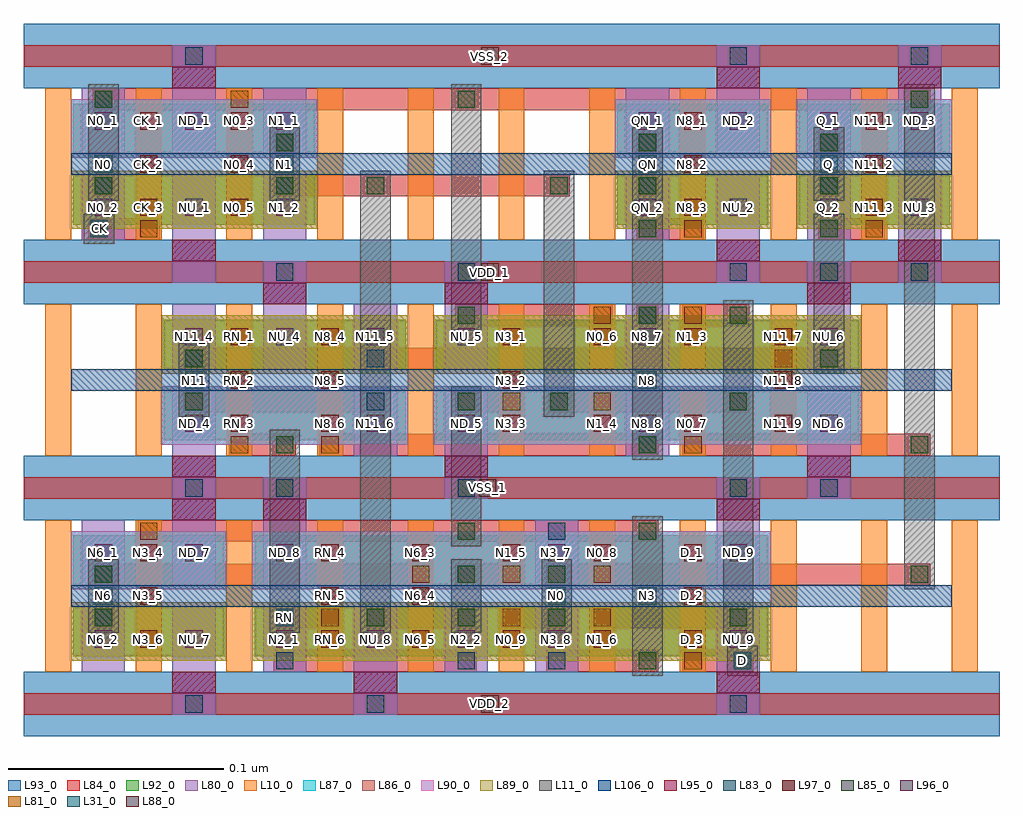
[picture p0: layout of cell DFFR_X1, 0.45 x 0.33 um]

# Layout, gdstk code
import gdstk
lib = gdstk.Library(unit=1e-6, precision=1e-09)
def R(c, l, rs):  # rectangles x0, y0, x1, y1
    for r in rs: c.add(gdstk.rectangle(r[:2], r[2:], *l))
def A(c, l, x, y, w, h, nx, ny, dx, dy):  # array of equal rectangles
    R(c, l, [(x+i*dx, y+j*dy, x+i*dx+w, y+j*dy+h) for i in range(nx) for j in range(ny)])
L10_0 = (10, 0)
L11_0 = (11, 0)
L31_0 = (31, 0)
L80_0 = (80, 0)
L81_0 = (81, 0)
L83_0 = (83, 0)
L84_0 = (84, 0)
L85_0 = (85, 0)
L86_0 = (86, 0)
L87_0 = (87, 0)
L88_0 = (88, 0)
L89_0 = (89, 0)
L90_0 = (90, 0)
L92_0 = (92, 0)
L93_0 = (93, 0)
L95_0 = (95, 0)
L96_0 = (96, 0)
L97_0 = (97, 0)
L106_0 = (106, 0)

dffr_x1 = lib.new_cell('DFFR_X1')
A(dffr_x1, L10_0, -0.006, 0.015, 0.012, 0.07, 5, 1, 0.042, 0)
A(dffr_x1, L10_0, 0.288, 0.015, 0.012, 0.07, 4, 1, 0.042, 0)
A(dffr_x1, L10_0, -0.006, 0.115, 0.012, 0.07, 6, 1, 0.042, 0)
A(dffr_x1, L10_0, 0.33, 0.115, 0.012, 0.07, 3, 1, 0.042, 0)
A(dffr_x1, L10_0, -0.006, 0.215, 0.012, 0.07, 11, 1, 0.042, 0)
R(dffr_x1, L10_0, [(0.204,0.015,0.216,0.045), (0.246,0.015,0.258,0.045), (0.204,0.055,0.216,0.085), (0.246,0.055,0.258,0.085), (0.246,0.115,0.258,0.145), (0.288,0.115,0.3,0.145), (0.33,0.115,0.342,0.185), (0.246,0.155,0.258,0.185), (0.288,0.155,0.3,0.185), (0.288,0.155,0.3,0.185)])
R(dffr_x1, L11_0, [(0.266,0.013,0.28,0.087), (0.31,0.013,0.324,0.027), (0.014,0.033,0.028,0.067), (0.098,0.033,0.112,0.127), (0.14,0.033,0.154,0.247), (0.182,0.033,0.196,0.067), (0.224,0.033,0.238,0.067), (0.308,0.033,0.322,0.187), (0.392,0.053,0.406,0.287), (0.182,0.073,0.196,0.147), (0.266,0.113,0.28,0.227), (0.056,0.133,0.07,0.167), (0.225,0.133,0.239,0.247), (0.266,0.133,0.28,0.167), (0.35,0.153,0.364,0.227), (0.182,0.173,0.196,0.287), (0.012,0.213,0.026,0.227), (0.014,0.233,0.028,0.287), (0.098,0.233,0.112,0.267), (0.266,0.233,0.28,0.267), (0.35,0.233,0.364,0.267)])
A(dffr_x1, L31_0, 0.269, 0.046, 0.008, 0.008, 1, 3, 0, 0.1)
R(dffr_x1, L31_0, [(0.313,0.016,0.321,0.024), (0.101,0.036,0.109,0.044), (0.017,0.046,0.025,0.054), (0.227,0.046,0.235,0.054), (0.059,0.146,0.067,0.154), (0.015,0.216,0.023,0.224), (0.017,0.246,0.025,0.254), (0.101,0.246,0.109,0.254), (0.353,0.246,0.361,0.254)])
A(dffr_x1, L80_0, 0.011, 0.015, 0.02, 0.03, 6, 1, 0.042, 0)
A(dffr_x1, L80_0, 0.011, 0.055, 0.02, 0.03, 3, 2, 0.042, 0.16)
A(dffr_x1, L80_0, 0.053, 0.075, 0.02, 0.03, 1, 3, 0, 0.02)
A(dffr_x1, L80_0, 0.179, 0.115, 0.02, 0.03, 3, 1, 0.084, 0)
A(dffr_x1, L80_0, 0.053, 0.155, 0.02, 0.03, 4, 1, 0.042, 0)
A(dffr_x1, L80_0, 0.263, 0.215, 0.02, 0.03, 4, 2, 0.042, 0.04)
A(dffr_x1, L80_0, 0.011, 0.255, 0.02, 0.03, 3, 1, 0.042, 0)
R(dffr_x1, L80_0, [(0.053,-0.005,0.073,0.025), (0.137,-0.005,0.157,0.025), (0.305,-0.005,0.325,0.025), (0.305,0.015,0.325,0.045), (0.221,0.055,0.241,0.085), (0.305,0.055,0.325,0.085), (0.095,0.075,0.115,0.105), (0.305,0.075,0.325,0.105), (0.179,0.095,0.199,0.125), (0.347,0.095,0.367,0.125), (0.137,0.115,0.157,0.145), (0.263,0.155,0.283,0.185), (0.347,0.155,0.367,0.185), (0.095,0.175,0.115,0.205), (0.179,0.175,0.199,0.205), (0.347,0.175,0.367,0.205), (0.053,0.195,0.073,0.225), (0.305,0.195,0.325,0.225), (0.389,0.195,0.409,0.225), (0.053,0.275,0.073,0.305), (0.305,0.275,0.325,0.305), (0.389,0.275,0.409,0.305)])
A(dffr_x1, L81_0, 0.164, 0.056, 0.008, 0.008, 3, 1, 0.042, 0)
R(dffr_x1, L81_0, [(0.29,0.016,0.298,0.024), (0.122,0.036,0.13,0.044), (0.206,0.036,0.214,0.044), (0.248,0.036,0.256,0.044), (0.248,0.056,0.256,0.064), (0.038,0.076,0.046,0.084), (0.08,0.116,0.088,0.124), (0.122,0.116,0.13,0.124), (0.29,0.116,0.298,0.124), (0.206,0.136,0.214,0.144), (0.248,0.136,0.256,0.144), (0.332,0.156,0.34,0.164), (0.332,0.156,0.34,0.164), (0.248,0.176,0.256,0.184), (0.29,0.176,0.298,0.184), (0.038,0.216,0.046,0.224), (0.29,0.216,0.298,0.224), (0.29,0.216,0.298,0.224), (0.29,0.216,0.298,0.224), (0.29,0.216,0.298,0.224), (0.374,0.216,0.382,0.224), (0.374,0.216,0.382,0.224), (0.374,0.216,0.382,0.224), (0.374,0.216,0.382,0.224), (0.08,0.276,0.088,0.284)])
A(dffr_x1, L83_0, 0.311, -0.004, 0.008, 0.008, 1, 3, 0, 0.1)
A(dffr_x1, L83_0, 0.269, 0.116, 0.008, 0.008, 1, 3, 0, 0.06)
A(dffr_x1, L83_0, 0.311, 0.196, 0.008, 0.008, 3, 1, 0.042, 0)
R(dffr_x1, L83_0, [(0.059,-0.004,0.067,0.004), (0.059,-0.004,0.067,0.004), (0.059,-0.004,0.067,0.004), (0.059,-0.004,0.067,0.004), (0.143,-0.004,0.151,0.004), (0.101,0.016,0.109,0.024), (0.185,0.016,0.193,0.024), (0.227,0.016,0.235,0.024), (0.017,0.036,0.025,0.044), (0.017,0.056,0.025,0.064), (0.227,0.076,0.235,0.084), (0.059,0.096,0.067,0.104), (0.101,0.096,0.109,0.104), (0.101,0.096,0.109,0.104), (0.185,0.096,0.193,0.104), (0.353,0.096,0.361,0.104), (0.143,0.136,0.151,0.144), (0.059,0.156,0.067,0.164), (0.143,0.156,0.151,0.164), (0.101,0.196,0.109,0.204), (0.185,0.196,0.193,0.204), (0.311,0.196,0.319,0.204), (0.311,0.196,0.319,0.204), (0.395,0.196,0.403,0.204), (0.395,0.196,0.403,0.204), (0.395,0.196,0.403,0.204), (0.017,0.236,0.025,0.244), (0.101,0.236,0.109,0.244), (0.353,0.236,0.361,0.244), (0.101,0.256,0.109,0.264), (0.269,0.256,0.277,0.264), (0.353,0.256,0.361,0.264), (0.017,0.276,0.025,0.284), (0.059,0.296,0.067,0.304), (0.311,0.296,0.319,0.304), (0.395,0.296,0.403,0.304)])
A(dffr_x1, L84_0, -0.016, -0.005, 0.452, 0.01, 1, 4, 0, 0.1)
R(dffr_x1, L84_0, [(0.1,0.015,0.194,0.025), (0.226,0.015,0.278,0.025), (0.289,0.015,0.322,0.025), (0.016,0.035,0.026,0.045), (0.098,0.035,0.131,0.045), (0.142,0.035,0.194,0.045), (0.205,0.035,0.236,0.045), (0.247,0.035,0.32,0.045), (0.016,0.055,0.173,0.065), (0.184,0.055,0.215,0.065), (0.226,0.055,0.404,0.065), (0.037,0.075,0.278,0.085), (0.079,0.115,0.11,0.125), (0.121,0.115,0.278,0.125), (0.289,0.115,0.404,0.125), (0.058,0.135,0.152,0.145), (0.184,0.135,0.215,0.145), (0.227,0.135,0.32,0.145), (0.058,0.155,0.362,0.165), (0.184,0.175,0.257,0.185), (0.268,0.175,0.278,0.185), (0.289,0.175,0.32,0.185), (0.014,0.215,0.047,0.225), (0.268,0.215,0.299,0.225), (0.352,0.215,0.383,0.225), (0.016,0.235,0.026,0.245), (0.1,0.235,0.237,0.245), (0.268,0.235,0.278,0.245), (0.352,0.235,0.362,0.245), (0.1,0.255,0.11,0.265), (0.268,0.255,0.278,0.265), (0.352,0.255,0.362,0.265), (0.016,0.275,0.404,0.285)])
A(dffr_x1, L85_0, 0.101, 0.036, 0.008, 0.008, 4, 1, 0.042, 0)
A(dffr_x1, L85_0, 0.269, 0.216, 0.008, 0.008, 1, 3, 0, 0.02)
A(dffr_x1, L85_0, 0.353, 0.216, 0.008, 0.008, 1, 3, 0, 0.02)
R(dffr_x1, L85_0, [(0.269,0.016,0.277,0.024), (0.313,0.016,0.321,0.024), (0.017,0.036,0.025,0.044), (0.311,0.036,0.319,0.044), (0.017,0.056,0.025,0.064), (0.185,0.056,0.193,0.064), (0.227,0.056,0.235,0.064), (0.395,0.056,0.403,0.064), (0.185,0.076,0.193,0.084), (0.269,0.076,0.277,0.084), (0.101,0.116,0.109,0.124), (0.269,0.116,0.277,0.124), (0.269,0.116,0.277,0.124), (0.395,0.116,0.403,0.124), (0.059,0.136,0.067,0.144), (0.185,0.136,0.193,0.144), (0.228,0.136,0.236,0.144), (0.311,0.136,0.319,0.144), (0.059,0.156,0.067,0.164), (0.353,0.156,0.361,0.164), (0.185,0.176,0.193,0.184), (0.269,0.176,0.277,0.184), (0.269,0.176,0.277,0.184), (0.311,0.176,0.319,0.184), (0.015,0.216,0.023,0.224), (0.017,0.236,0.025,0.244), (0.101,0.236,0.109,0.244), (0.143,0.236,0.151,0.244), (0.228,0.236,0.236,0.244), (0.101,0.256,0.109,0.264), (0.017,0.276,0.025,0.284), (0.185,0.276,0.193,0.284), (0.395,0.276,0.403,0.284)])
R(dffr_x1, L86_0, [(0.006,0.02,0.078,0.047), (0.09,0.02,0.33,0.047), (0.048,0.153,0.162,0.18), (0.174,0.153,0.372,0.18), (0.006,0.22,0.12,0.247), (0.258,0.22,0.33,0.247), (0.342,0.22,0.414,0.247)])
R(dffr_x1, L87_0, [(0.006,0.053,0.078,0.08), (0.09,0.053,0.33,0.08), (0.048,0.12,0.162,0.147), (0.174,0.12,0.372,0.147), (0.006,0.253,0.12,0.28), (0.258,0.253,0.33,0.28), (0.342,0.253,0.414,0.28)])
R(dffr_x1, L88_0, [(0.196,-0.004,0.204,0.004), (0.195,0.096,0.203,0.104), (0.196,0.196,0.204,0.204), (0.196,0.296,0.204,0.304)])
R(dffr_x1, L89_0, [(0.006,0.02,0.078,0.047), (0.09,0.02,0.33,0.047), (0.048,0.153,0.162,0.18), (0.174,0.153,0.372,0.18), (0.006,0.22,0.12,0.247), (0.258,0.22,0.33,0.247), (0.342,0.22,0.414,0.247)])
R(dffr_x1, L90_0, [(0.006,0.053,0.078,0.08), (0.09,0.053,0.33,0.08), (0.048,0.12,0.162,0.147), (0.174,0.12,0.372,0.147), (0.006,0.253,0.12,0.28), (0.258,0.253,0.33,0.28), (0.342,0.253,0.414,0.28)])
R(dffr_x1, L92_0, [(0.007,0.022,0.077,0.045), (0.091,0.022,0.329,0.045), (0.007,0.055,0.077,0.078), (0.091,0.055,0.329,0.078), (0.049,0.122,0.161,0.145), (0.175,0.122,0.371,0.145), (0.049,0.155,0.161,0.178), (0.175,0.155,0.371,0.178), (0.007,0.222,0.119,0.245), (0.259,0.222,0.329,0.245), (0.343,0.222,0.413,0.245), (0.007,0.255,0.119,0.278), (0.259,0.255,0.329,0.278), (0.343,0.255,0.413,0.278)])
A(dffr_x1, L93_0, -0.016, -0.015, 0.452, 0.03, 1, 4, 0, 0.1)
R(dffr_x1, L95_0, [(0.053,0.005,0.073,0.015), (0.137,0.005,0.157,0.015), (0.305,0.005,0.325,0.015), (0.053,0.085,0.073,0.095), (0.095,0.085,0.115,0.095), (0.305,0.085,0.325,0.095), (0.053,0.105,0.073,0.115), (0.179,0.105,0.199,0.115), (0.347,0.105,0.367,0.115), (0.095,0.185,0.115,0.195), (0.179,0.185,0.199,0.195), (0.347,0.185,0.367,0.195), (0.053,0.205,0.073,0.215), (0.305,0.205,0.325,0.215), (0.389,0.205,0.409,0.215), (0.053,0.285,0.073,0.295), (0.305,0.285,0.325,0.295), (0.389,0.285,0.409,0.295)])
A(dffr_x1, L96_0, 0.017, 0.026, 0.008, 0.008, 6, 1, 0.042, 0)
A(dffr_x1, L96_0, 0.017, 0.066, 0.008, 0.008, 3, 2, 0.042, 0.16)
A(dffr_x1, L96_0, 0.185, 0.126, 0.008, 0.008, 3, 1, 0.084, 0)
A(dffr_x1, L96_0, 0.059, 0.166, 0.008, 0.008, 4, 1, 0.042, 0)
A(dffr_x1, L96_0, 0.269, 0.226, 0.008, 0.008, 4, 2, 0.042, 0.04)
A(dffr_x1, L96_0, 0.017, 0.266, 0.008, 0.008, 3, 1, 0.042, 0)
R(dffr_x1, L96_0, [(0.311,0.026,0.319,0.034), (0.227,0.066,0.235,0.074), (0.311,0.066,0.319,0.074), (0.059,0.126,0.067,0.134), (0.143,0.126,0.151,0.134), (0.269,0.166,0.277,0.174), (0.353,0.166,0.361,0.174)])
A(dffr_x1, L97_0, 0.038, 0.026, 0.008, 0.008, 1, 3, 0, 0.02)
A(dffr_x1, L97_0, 0.122, 0.026, 0.008, 0.008, 5, 2, 0.042, 0.04)
A(dffr_x1, L97_0, 0.08, 0.126, 0.008, 0.008, 1, 3, 0, 0.02)
A(dffr_x1, L97_0, 0.122, 0.126, 0.008, 0.008, 1, 3, 0, 0.02)
A(dffr_x1, L97_0, 0.206, 0.126, 0.008, 0.008, 4, 2, 0.042, 0.04)
A(dffr_x1, L97_0, 0.038, 0.226, 0.008, 0.008, 1, 3, 0, 0.02)
A(dffr_x1, L97_0, 0.08, 0.226, 0.008, 0.008, 1, 3, 0, 0.02)
A(dffr_x1, L97_0, 0.29, 0.226, 0.008, 0.008, 1, 3, 0, 0.02)
A(dffr_x1, L97_0, 0.374, 0.226, 0.008, 0.008, 1, 3, 0, 0.02)
R(dffr_x1, L97_0, [(0.122,0.046,0.13,0.054), (0.164,0.046,0.172,0.054), (0.29,0.046,0.298,0.054), (0.206,0.146,0.214,0.154), (0.332,0.146,0.34,0.154)])
A(dffr_x1, L106_0, 0.006, 0.045, 0.408, 0.01, 1, 3, 0, 0.1)
dffr_x1.add(gdstk.Label('N6_4', (0.168,0.05), layer=97, texttype=0))
dffr_x1.add(gdstk.Label('D_2', (0.294,0.05), layer=97, texttype=0))
dffr_x1.add(gdstk.Label('N0_4', (0.084,0.25), layer=97, texttype=0))
dffr_x1.add(gdstk.Label('CK_2', (0.042,0.25), layer=97, texttype=0))
dffr_x1.add(gdstk.Label('N11_2', (0.378,0.25), layer=97, texttype=0))
dffr_x1.add(gdstk.Label('N1_6', (0.252,0.03), layer=97, texttype=0))
dffr_x1.add(gdstk.Label('N0_8', (0.252,0.07), layer=97, texttype=0))
dffr_x1.add(gdstk.Label('N8_2', (0.294,0.25), layer=97, texttype=0))
dffr_x1.add(gdstk.Label('N3_2', (0.21,0.15), layer=97, texttype=0))
dffr_x1.add(gdstk.Label('N1_4', (0.252,0.13), layer=97, texttype=0))
dffr_x1.add(gdstk.Label('N0_6', (0.252,0.17), layer=97, texttype=0))
dffr_x1.add(gdstk.Label('N1_3', (0.294,0.17), layer=97, texttype=0))
dffr_x1.add(gdstk.Label('N0_7', (0.294,0.13), layer=97, texttype=0))
dffr_x1.add(gdstk.Label('N11_8', (0.336,0.15), layer=97, texttype=0))
dffr_x1.add(gdstk.Label('N3_5', (0.042,0.05), layer=97, texttype=0))
dffr_x1.add(gdstk.Label('N8_5', (0.126,0.15), layer=97, texttype=0))
dffr_x1.add(gdstk.Label('RN_2', (0.084,0.15), layer=97, texttype=0))
dffr_x1.add(gdstk.Label('N8_6', (0.126,0.13), layer=97, texttype=0))
dffr_x1.add(gdstk.Label('N8_4', (0.126,0.17), layer=97, texttype=0))
dffr_x1.add(gdstk.Label('N0_5', (0.084,0.23), layer=97, texttype=0))
dffr_x1.add(gdstk.Label('N0_3', (0.084,0.27), layer=97, texttype=0))
dffr_x1.add(gdstk.Label('CK_1', (0.042,0.27), layer=97, texttype=0))
dffr_x1.add(gdstk.Label('CK_3', (0.042,0.23), layer=97, texttype=0))
dffr_x1.add(gdstk.Label('N8_1', (0.294,0.27), layer=97, texttype=0))
dffr_x1.add(gdstk.Label('N8_3', (0.294,0.23), layer=97, texttype=0))
dffr_x1.add(gdstk.Label('N11_3', (0.378,0.23), layer=97, texttype=0))
dffr_x1.add(gdstk.Label('N11_1', (0.378,0.27), layer=97, texttype=0))
dffr_x1.add(gdstk.Label('RN_3', (0.084,0.13), layer=97, texttype=0))
dffr_x1.add(gdstk.Label('RN_1', (0.084,0.17), layer=97, texttype=0))
dffr_x1.add(gdstk.Label('N3_1', (0.21,0.17), layer=97, texttype=0))
dffr_x1.add(gdstk.Label('N3_3', (0.21,0.13), layer=97, texttype=0))
dffr_x1.add(gdstk.Label('N11_7', (0.336,0.17), layer=97, texttype=0))
dffr_x1.add(gdstk.Label('N11_9', (0.336,0.13), layer=97, texttype=0))
dffr_x1.add(gdstk.Label('N3_4', (0.042,0.07), layer=97, texttype=0))
dffr_x1.add(gdstk.Label('N3_6', (0.042,0.03), layer=97, texttype=0))
dffr_x1.add(gdstk.Label('RN_4', (0.126,0.07), layer=97, texttype=0))
dffr_x1.add(gdstk.Label('RN_6', (0.126,0.03), layer=97, texttype=0))
dffr_x1.add(gdstk.Label('N6_5', (0.168,0.03), layer=97, texttype=0))
dffr_x1.add(gdstk.Label('N6_3', (0.168,0.07), layer=97, texttype=0))
dffr_x1.add(gdstk.Label('D_3', (0.294,0.03), layer=97, texttype=0))
dffr_x1.add(gdstk.Label('D_1', (0.294,0.07), layer=97, texttype=0))
dffr_x1.add(gdstk.Label('N0_9', (0.21,0.03), layer=97, texttype=0))
dffr_x1.add(gdstk.Label('N1_5', (0.21,0.07), layer=97, texttype=0))
dffr_x1.add(gdstk.Label('RN_5', (0.126,0.05), layer=97, texttype=0))
dffr_x1.add(gdstk.Label('N1_1', (0.105,0.27), layer=96, texttype=0))
dffr_x1.add(gdstk.Label('NU_1', (0.063,0.23), layer=96, texttype=0))
dffr_x1.add(gdstk.Label('ND_1', (0.063,0.27), layer=96, texttype=0))
dffr_x1.add(gdstk.Label('N0_1', (0.021,0.27), layer=96, texttype=0))
dffr_x1.add(gdstk.Label('ND_8', (0.105,0.07), layer=96, texttype=0))
dffr_x1.add(gdstk.Label('NU_8', (0.147,0.03), layer=96, texttype=0))
dffr_x1.add(gdstk.Label('N2_1', (0.105,0.03), layer=96, texttype=0))
dffr_x1.add(gdstk.Label('N3_7', (0.231,0.07), layer=96, texttype=0))
dffr_x1.add(gdstk.Label('ND_9', (0.315,0.07), layer=96, texttype=0))
dffr_x1.add(gdstk.Label('NU_9', (0.315,0.03), layer=96, texttype=0))
dffr_x1.add(gdstk.Label('N0_2', (0.021,0.23), layer=96, texttype=0))
dffr_x1.add(gdstk.Label('N1_2', (0.105,0.23), layer=96, texttype=0))
dffr_x1.add(gdstk.Label('QN_1', (0.273,0.27), layer=96, texttype=0))
dffr_x1.add(gdstk.Label('N3_8', (0.231,0.03), layer=96, texttype=0))
dffr_x1.add(gdstk.Label('NU_2', (0.315,0.23), layer=96, texttype=0))
dffr_x1.add(gdstk.Label('N2_2', (0.189,0.03), layer=96, texttype=0))
dffr_x1.add(gdstk.Label('ND_2', (0.315,0.27), layer=96, texttype=0))
dffr_x1.add(gdstk.Label('NU_3', (0.399,0.23), layer=96, texttype=0))
dffr_x1.add(gdstk.Label('QN_2', (0.273,0.23), layer=96, texttype=0))
dffr_x1.add(gdstk.Label('ND_3', (0.399,0.27), layer=96, texttype=0))
dffr_x1.add(gdstk.Label('NU_5', (0.189,0.17), layer=96, texttype=0))
dffr_x1.add(gdstk.Label('ND_5', (0.189,0.13), layer=96, texttype=0))
dffr_x1.add(gdstk.Label('N8_7', (0.273,0.17), layer=96, texttype=0))
dffr_x1.add(gdstk.Label('N8_8', (0.273,0.13), layer=96, texttype=0))
dffr_x1.add(gdstk.Label('ND_6', (0.357,0.13), layer=96, texttype=0))
dffr_x1.add(gdstk.Label('NU_6', (0.357,0.17), layer=96, texttype=0))
dffr_x1.add(gdstk.Label('N11_6', (0.147,0.13), layer=96, texttype=0))
dffr_x1.add(gdstk.Label('N11_5', (0.147,0.17), layer=96, texttype=0))
dffr_x1.add(gdstk.Label('NU_7', (0.063,0.03), layer=96, texttype=0))
dffr_x1.add(gdstk.Label('ND_7', (0.063,0.07), layer=96, texttype=0))
dffr_x1.add(gdstk.Label('N6_2', (0.021,0.03), layer=96, texttype=0))
dffr_x1.add(gdstk.Label('N6_1', (0.021,0.07), layer=96, texttype=0))
dffr_x1.add(gdstk.Label('Q_1', (0.357,0.27), layer=96, texttype=0))
dffr_x1.add(gdstk.Label('Q_2', (0.357,0.23), layer=96, texttype=0))
dffr_x1.add(gdstk.Label('ND_4', (0.063,0.13), layer=96, texttype=0))
dffr_x1.add(gdstk.Label('NU_4', (0.105,0.17), layer=96, texttype=0))
dffr_x1.add(gdstk.Label('N11_4', (0.063,0.17), layer=96, texttype=0))
dffr_x1.add(gdstk.Label('VSS_1', (0.199,0.1), layer=88, texttype=0))
dffr_x1.add(gdstk.Label('VDD_2', (0.2,0), layer=88, texttype=0))
dffr_x1.add(gdstk.Label('VDD_1', (0.2,0.2), layer=88, texttype=0))
dffr_x1.add(gdstk.Label('VSS_2', (0.2,0.3), layer=88, texttype=0))
dffr_x1.add(gdstk.Label('CK', (0.019,0.22), layer=31, texttype=0))
dffr_x1.add(gdstk.Label('N0', (0.021,0.25), layer=31, texttype=0))
dffr_x1.add(gdstk.Label('N0', (0.231,0.05), layer=31, texttype=0))
dffr_x1.add(gdstk.Label('N1', (0.105,0.25), layer=31, texttype=0))
dffr_x1.add(gdstk.Label('QN', (0.273,0.25), layer=31, texttype=0))
dffr_x1.add(gdstk.Label('Q', (0.357,0.25), layer=31, texttype=0))
dffr_x1.add(gdstk.Label('N3', (0.273,0.05), layer=31, texttype=0))
dffr_x1.add(gdstk.Label('RN', (0.105,0.04), layer=31, texttype=0))
dffr_x1.add(gdstk.Label('N6', (0.021,0.05), layer=31, texttype=0))
dffr_x1.add(gdstk.Label('N11', (0.063,0.15), layer=31, texttype=0))
dffr_x1.add(gdstk.Label('N8', (0.273,0.15), layer=31, texttype=0))
dffr_x1.add(gdstk.Label('D', (0.317,0.02), layer=31, texttype=0))

lib.write_gds('DFFR_X1.gds')
